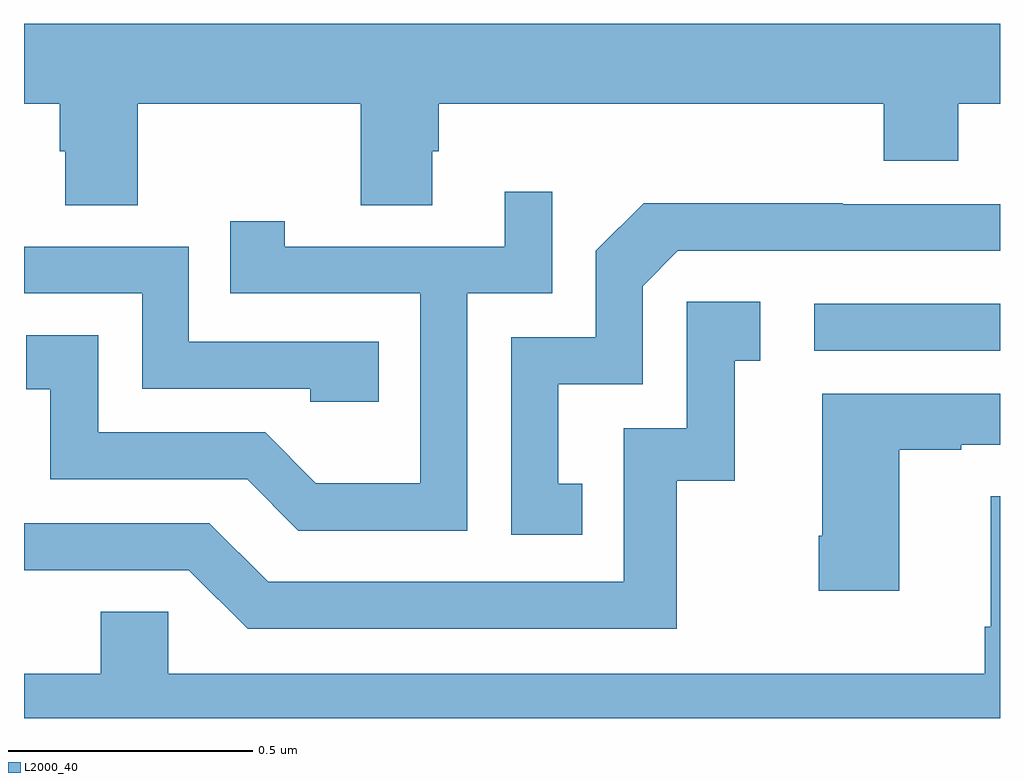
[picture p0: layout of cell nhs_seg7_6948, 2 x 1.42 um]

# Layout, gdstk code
import gdstk
lib = gdstk.Library(unit=1e-6, precision=1e-09)
def R(c, l, rs):  # rectangles x0, y0, x1, y1
    for r in rs: c.add(gdstk.rectangle(r[:2], r[2:], *l))
def P(c, l, *ps):  # polygons
    for p in ps: c.add(gdstk.Polygon(p, *l))
L2000_40 = (2000, 40)

nhs_seg7_6948 = lib.new_cell('nhs_seg7_6948')
R(nhs_seg7_6948, L2000_40, [(206.619,1022.754,207,1022.85)])
P(nhs_seg7_6948, L2000_40, [(205.233,1023.26),(205.69,1023.26),(205.69,1023.052),(205.837,1023.052),(205.837,1023.162),(205.85,1023.162),(205.85,1023.26),(206.762,1023.26),(206.762,1023.143),(206.914,1023.143),(206.914,1023.26),(207,1023.26),(207,1023.424),(205,1023.424),(205,1023.26),(205.073,1023.26),(205.073,1023.162),(205.085,1023.162),(205.085,1023.052),(205.233,1023.052)],
  [(205.908,1022.871),(206.082,1022.871),(206.082,1023.079),(205.985,1023.079),(205.985,1022.967),(205.534,1022.967),(205.534,1023.019),(205.423,1023.019),(205.423,1022.871),(205.812,1022.871),(205.812,1022.482),(205.598,1022.482),(205.494,1022.586),(205.152,1022.586),(205.152,1022.785),(205.005,1022.785),(205.005,1022.675),(205.054,1022.675),(205.054,1022.49),(205.457,1022.49),(205.562,1022.385),(205.908,1022.385)],
  [(206.144,1022.481),(206.095,1022.481),(206.095,1022.685),(206.268,1022.685),(206.268,1022.886),(206.34,1022.958),(207,1022.958),(207,1023.054),(206.678,1023.054),(206.678,1023.056),(206.27,1023.056),(206.172,1022.958),(206.172,1022.781),(205.998,1022.781),(205.998,1022.376),(206.144,1022.376)],
  [(205.727,1022.772),(205.338,1022.772),(205.338,1022.967),(205,1022.967),(205,1022.871),(205.242,1022.871),(205.242,1022.676),(205.587,1022.676),(205.587,1022.649),(205.727,1022.649)],
  [(206.338,1022.487),(206.456,1022.487),(206.456,1022.733),(206.509,1022.733),(206.509,1022.854),(206.358,1022.854),(206.358,1022.595),(206.229,1022.595),(206.229,1022.28),(205.5,1022.28),(205.38,1022.4),(205,1022.4),(205,1022.304),(205.338,1022.304),(205.458,1022.184),(206.338,1022.184)],
  [(206.794,1022.551),(206.921,1022.551),(206.921,1022.561),(207,1022.561),(207,1022.665),(206.636,1022.665),(206.636,1022.374),(206.629,1022.374),(206.629,1022.262),(206.794,1022.262)],
  [(207,1022.455),(206.981,1022.455),(206.981,1022.188),(206.969,1022.188),(206.969,1022.092),(205.296,1022.092),(205.296,1022.219),(205.157,1022.219),(205.157,1022.092),(205,1022.092),(205,1022),(207,1022)])

lib.write_gds('nhs_seg7_6948.gds')
